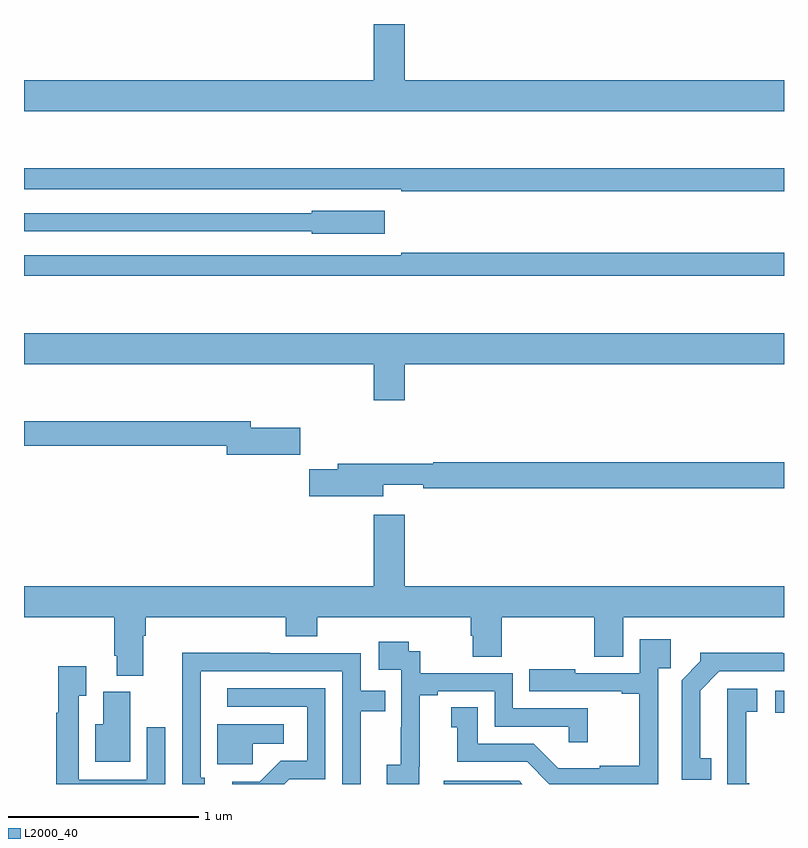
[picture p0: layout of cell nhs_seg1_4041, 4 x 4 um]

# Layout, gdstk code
import gdstk
lib = gdstk.Library(unit=1e-6, precision=1e-09)
def R(c, l, rs):  # rectangles x0, y0, x1, y1
    for r in rs: c.add(gdstk.rectangle(r[:2], r[2:], *l))
def P(c, l, *ps):  # polygons
    for p in ps: c.add(gdstk.Polygon(p, *l))
L2000_40 = (2000, 40)

nhs_seg1_4041 = lib.new_cell('nhs_seg1_4041')
R(nhs_seg1_4041, L2000_40, [(334.953,540.574,335,540.69)])
P(nhs_seg1_4041, L2000_40, [(335,543.904),(333.004,543.904),(333.004,544.199),(332.84,544.199),(332.84,543.904),(331,543.904),(331,543.74),(335,543.74)],
  [(335,543.439),(331,543.439),(331,543.33),(332.986,543.33),(332.986,543.318),(335,543.318)],
  [(332.899,543.217),(332.514,543.217),(332.514,543.204),(331,543.204),(331,543.108),(332.514,543.108),(332.514,543.095),(332.899,543.095)],
  [(335,542.995),(332.986,542.995),(332.986,542.982),(331,542.982),(331,542.874),(335,542.874)],
  [(333.004,542.408),(335,542.408),(335,542.572),(331,542.572),(331,542.408),(332.84,542.408),(332.84,542.22),(333.004,542.22)],
  [(332.455,542.073),(332.194,542.073),(332.194,542.107),(331,542.107),(331,541.978),(332.066,541.978),(332.066,541.931),(332.455,541.931)],
  [(332.89,541.775),(333.1,541.775),(333.1,541.756),(335,541.756),(335,541.892),(333.155,541.892),(333.155,541.885),(332.651,541.885),(332.651,541.856),(332.502,541.856),(332.502,541.714),(332.89,541.714)],
  [(331.627,540.98),(331.64,540.98),(331.64,541.076),(332.378,541.076),(332.378,540.977),(332.543,540.977),(332.543,541.076),(333.35,541.076),(333.35,540.978),(333.362,540.978),(333.362,540.868),(333.515,540.868),(333.515,541.076),(334.001,541.076),(334.001,540.868),(334.153,540.868),(334.153,541.076),(335,541.076),(335,541.24),(333.004,541.24),(333.004,541.615),(332.84,541.615),(332.84,541.24),(331,541.24),(331,541.076),(331.475,541.076),(331.475,540.874),(331.487,540.874),(331.487,540.769),(331.627,540.769)],
  [(334.338,540.809),(334.403,540.809),(334.403,540.961),(334.242,540.961),(334.242,540.783),(333.901,540.783),(333.901,540.802),(333.658,540.802),(333.658,540.687),(334.145,540.687),(334.145,540.675),(334.237,540.675),(334.237,540.295),(334.031,540.295),(334.031,540.283),(333.812,540.283),(333.684,540.411),(333.388,540.411),(333.388,540.602),(333.248,540.602),(333.248,540.499),(333.281,540.499),(333.281,540.315),(333.648,540.315),(333.764,540.199),(334.338,540.199)],
  [(333.08,540.289),(333.082,540.289),(333.082,540.667),(333.178,540.667),(333.178,540.687),(333.477,540.687),(333.477,540.501),(333.867,540.501),(333.867,540.42),(333.968,540.42),(333.968,540.597),(333.573,540.597),(333.573,540.783),(333.086,540.783),(333.086,540.897),(333.024,540.897),(333.024,540.949),(332.868,540.949),(332.868,540.801),(332.985,540.801),(332.985,540.497),(332.984,540.497),(332.984,540.3),(332.91,540.3),(332.91,540.199),(333.08,540.199)],
  [(331.951,540.231),(331.929,540.231),(331.929,540.792),(332.676,540.792),(332.676,540.199),(332.773,540.199),(332.773,540.582),(332.9,540.582),(332.9,540.69),(332.772,540.69),(332.772,540.888),(332.294,540.888),(332.294,540.89),(331.832,540.89),(331.832,540.586),(331.833,540.586),(331.833,540.199),(331.951,540.199)],
  [(334.616,540.335),(334.558,540.335),(334.558,540.691),(334.659,540.792),(335,540.792),(335,540.888),(334.994,540.888),(334.994,540.89),(334.56,540.89),(334.56,540.845),(334.461,540.746),(334.461,540.222),(334.616,540.222)],
  [(331.743,540.499),(331.647,540.499),(331.647,540.222),(331.287,540.222),(331.287,540.664),(331.327,540.664),(331.327,540.82),(331.179,540.82),(331.179,540.575),(331.171,540.575),(331.171,540.199),(331.743,540.199)],
  [(332.397,540.225),(332.586,540.225),(332.586,540.702),(332.07,540.702),(332.07,540.606),(332.49,540.606),(332.49,540.321),(332.352,540.321),(332.241,540.21),(332.097,540.21),(332.097,540.199),(332.371,540.199)],
  [(334.817,540.203),(334.8,540.203),(334.8,540.579),(334.858,540.579),(334.858,540.7),(334.7,540.7),(334.7,540.424),(334.701,540.424),(334.701,540.199),(334.817,540.199)],
  [(331.558,540.684),(331.418,540.684),(331.418,540.514),(331.376,540.514),(331.376,540.317),(331.558,540.317)],
  [(332.205,540.41),(332.368,540.41),(332.368,540.514),(332.018,540.514),(332.018,540.303),(332.205,540.303)],
  [(333.606,540.216),(333.21,540.216),(333.21,540.199),(333.623,540.199)])

lib.write_gds('nhs_seg1_4041.gds')
